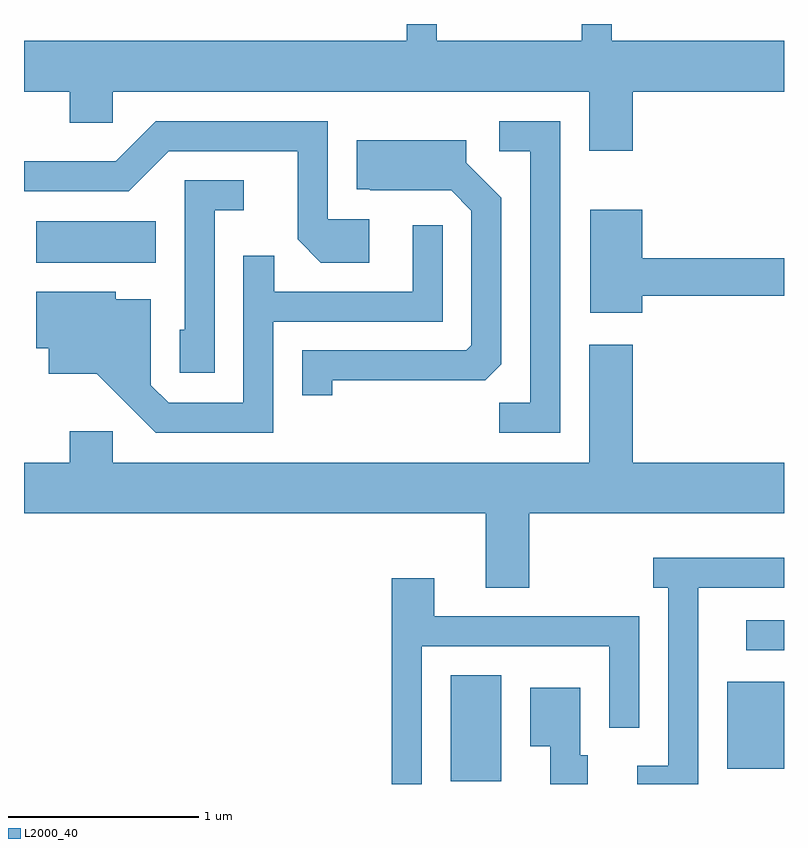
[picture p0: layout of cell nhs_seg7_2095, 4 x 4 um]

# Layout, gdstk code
import gdstk
lib = gdstk.Library(unit=1e-6, precision=1e-09)
def R(c, l, rs):  # rectangles x0, y0, x1, y1
    for r in rs: c.add(gdstk.rectangle(r[:2], r[2:], *l))
def P(c, l, *ps):  # polygons
    for p in ps: c.add(gdstk.Polygon(p, *l))
L2000_40 = (2000, 40)

nhs_seg7_2095 = lib.new_cell('nhs_seg7_2095')
R(nhs_seg7_2095, L2000_40, [(251.856,1686.266,252.124,1686.824), (253.311,1686.331,253.611,1686.789), (253.413,1686.956,253.611,1687.114), (249.676,1688.996,250.304,1689.214)])
P(nhs_seg7_2095, L2000_40, [(252.814,1689.896),(253.611,1689.896),(253.611,1690.164),(252.704,1690.164),(252.704,1690.252),(252.546,1690.252),(252.546,1690.164),(251.784,1690.164),(251.784,1690.252),(251.626,1690.252),(251.626,1690.164),(249.611,1690.164),(249.611,1689.896),(249.851,1689.896),(249.851,1689.731),(250.079,1689.731),(250.079,1689.896),(252.586,1689.896),(252.586,1689.586),(252.814,1689.586)],
  [(251.429,1689.224),(251.209,1689.224),(251.209,1689.739),(250.304,1689.739),(250.094,1689.529),(249.611,1689.529),(249.611,1689.371),(250.162,1689.371),(250.372,1689.581),(251.051,1689.581),(251.051,1689.119),(251.174,1688.996),(251.429,1688.996)],
  [(252.434,1689.739),(252.113,1689.739),(252.113,1689.581),(252.276,1689.581),(252.276,1688.259),(252.113,1688.259),(252.113,1688.101),(252.434,1688.101)],
  [(251.234,1688.376),(252.039,1688.376),(252.124,1688.462),(252.124,1689.337),(251.939,1689.522),(251.939,1689.639),(251.361,1689.639),(251.361,1689.381),(251.429,1689.381),(251.434,1689.376),(251.859,1689.376),(251.966,1689.269),(251.966,1688.562),(251.939,1688.534),(251.076,1688.534),(251.076,1688.298),(251.234,1688.298)],
  [(250.614,1689.271),(250.768,1689.271),(250.768,1689.429),(250.456,1689.429),(250.456,1688.644),(250.431,1688.644),(250.431,1688.416),(250.614,1688.416)],
  [(252.864,1688.821),(253.611,1688.821),(253.611,1689.019),(252.864,1689.019),(252.864,1689.274),(252.591,1689.274),(252.591,1688.731),(252.864,1688.731)],
  [(250.924,1688.686),(251.814,1688.686),(251.814,1689.193),(251.656,1689.193),(251.656,1688.844),(250.929,1688.844),(250.929,1689.033),(250.766,1689.033),(250.766,1688.259),(250.372,1688.259),(250.279,1688.352),(250.279,1688.804),(250.094,1688.804),(250.094,1688.844),(249.676,1688.844),(249.676,1688.546),(249.741,1688.546),(249.741,1688.411),(249.994,1688.411),(250.304,1688.101),(250.924,1688.101)],
  [(252.269,1687.676),(253.611,1687.676),(253.611,1687.944),(252.814,1687.944),(252.814,1688.564),(252.586,1688.564),(252.586,1687.944),(250.079,1687.944),(250.079,1688.109),(249.851,1688.109),(249.851,1687.944),(249.611,1687.944),(249.611,1687.676),(252.041,1687.676),(252.041,1687.286),(252.269,1687.286)],
  [(253.159,1687.286),(253.611,1687.286),(253.611,1687.444),(252.923,1687.444),(252.923,1687.286),(253.001,1687.286),(253.001,1686.349),(252.838,1686.349),(252.838,1686.252),(253.159,1686.252)],
  [(251.704,1686.976),(252.691,1686.976),(252.691,1686.548),(252.849,1686.548),(252.849,1687.134),(251.769,1687.134),(251.769,1687.334),(251.546,1687.334),(251.546,1686.252),(251.704,1686.252)],
  [(252.579,1686.404),(252.539,1686.404),(252.539,1686.759),(252.276,1686.759),(252.276,1686.451),(252.381,1686.451),(252.381,1686.252),(252.579,1686.252)])

lib.write_gds('nhs_seg7_2095.gds')
